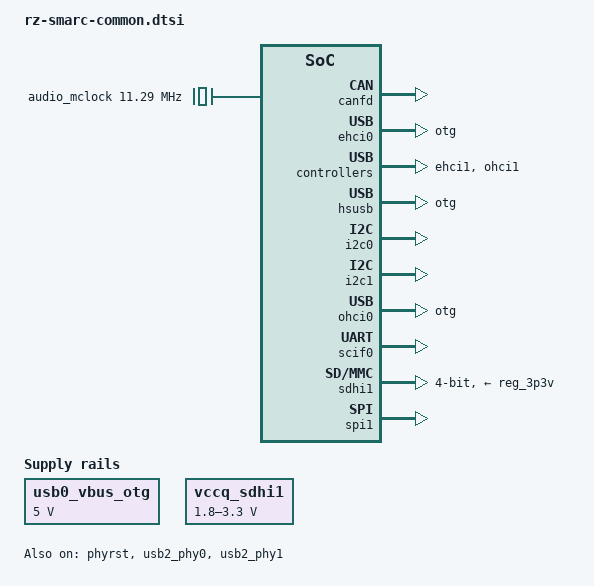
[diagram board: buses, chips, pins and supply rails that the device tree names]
// SPDX-License-Identifier: (GPL-2.0-only OR BSD-2-Clause)
/*
 * Device Tree Source for the RZ/{G2L,G2LC,V2L} SMARC EVK common parts
 *
 * Copyright (C) 2022 Renesas Electronics Corp.
 */

#include <dt-bindings/gpio/gpio.h>
#include <dt-bindings/pinctrl/rzg2l-pinctrl.h>

/*
 * SSI-WM8978
 *
 * This command is required when Playback/Capture
 *
 *	amixer cset name='Left Input Mixer L2 Switch' on
 *	amixer cset name='Right Input Mixer R2 Switch' on
 *	amixer cset name='Headphone Playback Volume' 100
 *	amixer cset name='PCM Volume' 100%
 *	amixer cset name='Input PGA Volume' 25
 *
 */

/ {
	aliases {
		serial0 = &scif0;
		i2c0 = &i2c0;
		i2c1 = &i2c1;
	};

	chosen {
		stdout-path = "serial0:115200n8";
	};

	audio_mclock: audio_mclock {
		compatible = "fixed-clock";
		#clock-cells = <0>;
		clock-frequency = <11289600>;
	};

	snd_rzg2l: sound {
		compatible = "simple-audio-card";
		simple-audio-card,format = "i2s";
		simple-audio-card,bitclock-master = <&cpu_dai>;
		simple-audio-card,frame-master = <&cpu_dai>;
		simple-audio-card,mclk-fs = <256>;

		simple-audio-card,widgets = "Microphone", "Microphone Jack";
		simple-audio-card,routing =
			    "L2", "Mic Bias",
			    "R2", "Mic Bias",
			    "Mic Bias", "Microphone Jack";

		cpu_dai: simple-audio-card,cpu {
		};

		codec_dai: simple-audio-card,codec {
			clocks = <&audio_mclock>;
			sound-dai = <&wm8978>;
		};
	};

	usb0_vbus_otg: regulator-usb0-vbus-otg {
		compatible = "regulator-fixed";

		regulator-name = "USB0_VBUS_OTG";
		regulator-min-microvolt = <5000000>;
		regulator-max-microvolt = <5000000>;
	};

	vccq_sdhi1: regulator-vccq-sdhi1 {
		compatible = "regulator-gpio";
		regulator-name = "SDHI1 VccQ";
		regulator-min-microvolt = <1800000>;
		regulator-max-microvolt = <3300000>;
		gpios-states = <1>;
		states = <3300000 1>, <1800000 0>;
	};
};

&audio_clk1 {
	clock-frequency = <11289600>;
};

&audio_clk2 {
	clock-frequency = <12288000>;
};

&canfd {
	pinctrl-0 = <&can0_pins &can1_pins>;
	pinctrl-names = "default";
	status = "okay";

	channel0 {
		status = "okay";
	};

	channel1 {
		status = "okay";
	};
};

&ehci0 {
	dr_mode = "otg";
	status = "okay";
};

&ehci1 {
	status = "okay";
};

&hsusb {
	dr_mode = "otg";
	status = "okay";
};

&i2c0 {
	pinctrl-0 = <&i2c0_pins>;
	pinctrl-names = "default";

	status = "okay";
};

&i2c1 {
	pinctrl-0 = <&i2c1_pins>;
	pinctrl-names = "default";

	status = "okay";
};

&ohci0 {
	dr_mode = "otg";
	status = "okay";
};

&ohci1 {
	status = "okay";
};

&phyrst {
	status = "okay";
};

&scif0 {
	pinctrl-0 = <&scif0_pins>;
	pinctrl-names = "default";
	status = "okay";
};

&sdhi1 {
	pinctrl-0 = <&sdhi1_pins>;
	pinctrl-1 = <&sdhi1_pins_uhs>;
	pinctrl-names = "default", "state_uhs";

	vmmc-supply = <&reg_3p3v>;
	vqmmc-supply = <&vccq_sdhi1>;
	bus-width = <4>;
	sd-uhs-sdr50;
	sd-uhs-sdr104;
	status = "okay";
};

&spi1 {
	pinctrl-0 = <&spi1_pins>;
	pinctrl-names = "default";

	status = "okay";
};

&usb2_phy0 {
	pinctrl-0 = <&usb0_pins>;
	pinctrl-names = "default";

	vbus-supply = <&usb0_vbus_otg>;
	status = "okay";
};

&usb2_phy1 {
	pinctrl-0 = <&usb1_pins>;
	pinctrl-names = "default";

	status = "okay";
};
